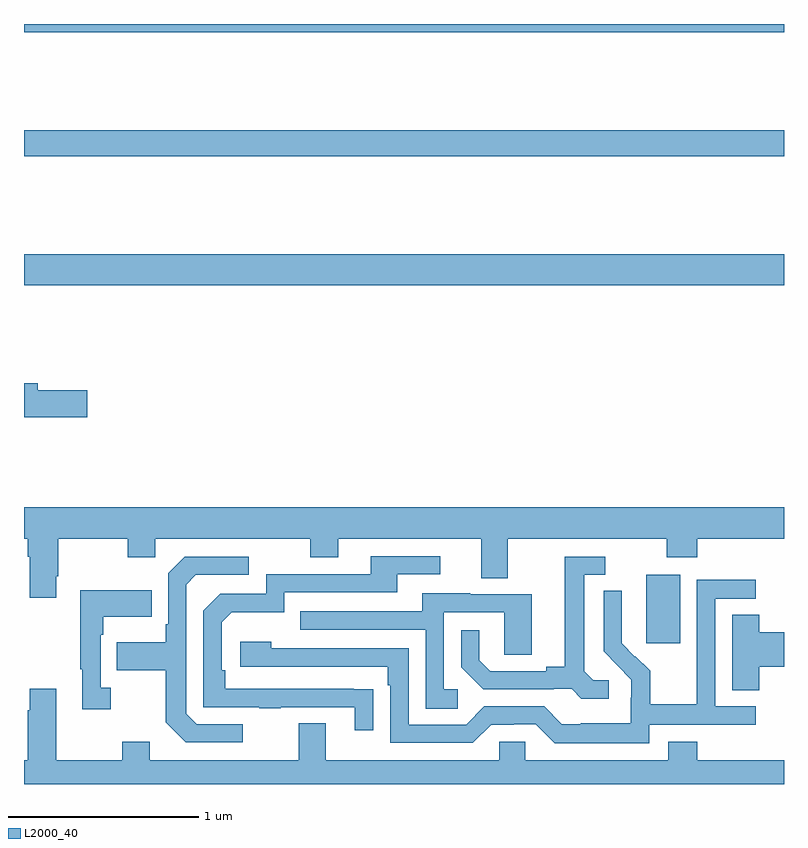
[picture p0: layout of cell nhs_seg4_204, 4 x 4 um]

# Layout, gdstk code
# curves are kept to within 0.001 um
import gdstk
lib = gdstk.Library(unit=1e-6, precision=1e-09)
def R(c, l, rs):  # rectangles x0, y0, x1, y1
    for r in rs: c.add(gdstk.rectangle(r[:2], r[2:], *l))
def P(c, l, *ps):  # polygons
    for p in ps: c.add(gdstk.Polygon(p, *l))
L2000_40 = (2000, 40)

nhs_seg4_204 = lib.new_cell('nhs_seg4_204')
R(nhs_seg4_204, L2000_40, [(124.274,757.641,124.453,758.002), (121,759.524,125,759.688), (121,760.204,125,760.34), (121,760.856,125,760.9)])
P(nhs_seg4_204, L2000_40, [(121.333,758.972),(121.072,758.972),(121.072,759.008),(121,759.008),(121,758.83),(121.333,758.83)],
  [(121.171,757.993),(121.179,757.993),(121.179,758.192),(121.546,758.192),(121.546,758.093),(121.692,758.093),(121.692,758.192),(122.506,758.192),(122.506,758.093),(122.653,758.093),(122.653,758.192),(123.407,758.192),(123.407,757.984),(123.547,757.984),(123.547,758.192),(124.384,758.192),(124.384,758.093),(124.544,758.093),(124.544,758.192),(125,758.192),(125,758.356),(121,758.356),(121,758.192),(121.019,758.192),(121.019,758.096),(121.031,758.096),(121.031,757.881),(121.171,757.881)],
  [(122.837,757.4),(122.06,757.401),(122.06,757.498),(122.04,757.498),(122.04,757.752),(122.093,757.805),(122.37,757.805),(122.37,757.908),(122.965,757.908),(122.965,758.004),(123.19,758.004),(123.19,758.1),(122.825,758.1),(122.825,758.004),(122.274,758.004),(122.274,757.902),(122.034,757.902),(121.944,757.812),(121.944,757.305),(122.239,757.305),(122.239,757.3),(122.351,757.3),(122.351,757.305),(122.741,757.305),(122.741,757.182),(122.837,757.182)],
  [(124.078,757.446),(123.996,757.446),(123.949,757.493),(123.949,758.001),(124.06,758.001),(124.06,758.097),(123.845,758.097),(123.845,757.517),(123.749,757.517),(123.749,757.494),(123.454,757.494),(123.397,757.551),(123.397,757.708),(123.3,757.708),(123.3,757.514),(123.416,757.398),(123.788,757.398),(123.788,757.401),(123.882,757.401),(123.934,757.349),(124.078,757.349)],
  [(122.152,757.215),(121.908,757.215),(121.854,757.269),(121.854,757.95),(121.905,758.001),(122.182,758.001),(122.182,758.097),(121.845,758.097),(121.758,758.01),(121.758,757.741),(121.746,757.741),(121.746,757.645),(121.489,757.645),(121.489,757.498),(121.746,757.498),(121.746,757.225),(121.851,757.119),(122.152,757.119)],
  [(124.29,757.212),(124.852,757.212),(124.852,757.308),(124.638,757.308),(124.638,757.875),(124.852,757.875),(124.852,757.974),(124.542,757.974),(124.542,757.544),(124.54,757.544),(124.54,757.321),(124.295,757.321),(124.295,757.495),(124.218,757.572),(124.215,757.569),(124.145,757.64),(124.146,757.916),(124.05,757.916),(124.05,757.598),(124.196,757.45),(124.196,757.353),(124.194,757.353),(124.194,757.219),(123.931,757.219),(123.931,757.215),(123.831,757.215),(123.738,757.308),(123.423,757.308),(123.327,757.212),(123.024,757.212),(123.024,757.614),(122.3,757.614),(122.3,757.648),(122.139,757.648),(122.139,757.518),(122.915,757.518),(122.915,757.421),(122.928,757.421),(122.928,757.116),(123.363,757.116),(123.459,757.212),(123.578,757.212),(123.578,757.215),(123.693,757.215),(123.793,757.115),(124.29,757.115)],
  [(121.456,757.406),(121.404,757.406),(121.404,757.685),(121.417,757.685),(121.417,757.781),(121.673,757.781),(121.673,757.921),(121.296,757.921),(121.296,757.505),(121.307,757.505),(121.307,757.293),(121.456,757.293)],
  [(123.283,757.398),(123.21,757.398),(123.21,757.803),(123.528,757.803),(123.528,757.579),(123.673,757.579),(123.673,757.899),(123.349,757.899),(123.349,757.903),(123.095,757.903),(123.095,757.809),(122.455,757.809),(122.455,757.713),(123.114,757.713),(123.114,757.297),(123.283,757.297)],
  [(124.871,757.517),(125,757.517),(125,757.7),(124.871,757.7),(124.871,757.79),(124.727,757.79),(124.727,757.393),(124.871,757.393)],
  [(125,757.024),(124.544,757.024),(124.544,757.123),(124.391,757.123),(124.391,757.024),(123.639,757.024),(123.639,757.122),(123.501,757.122),(123.501,757.024),(122.587,757.024),(122.587,757.219),(122.447,757.219),(122.447,757.024),(121.663,757.024),(121.663,757.123),(121.516,757.123),(121.516,757.024),(121.171,757.024),(121.171,757.402),(121.031,757.402),(121.031,757.289),(121.019,757.289),(121.019,757.024),(121,757.024),(121,756.9),(125,756.9)])

lib.write_gds('nhs_seg4_204.gds')
